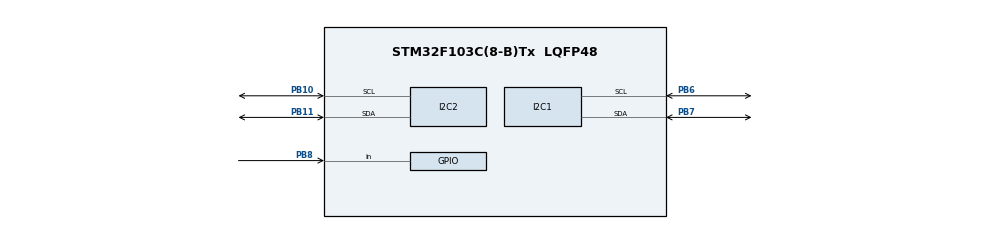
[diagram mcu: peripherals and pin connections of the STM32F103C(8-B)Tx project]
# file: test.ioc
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I2C1.I2C_Mode=I2C_Fast
I2C2.I2C_Mode=I2C_Fast
Mcu.Family=STM32F1
Mcu.Name=STM32F103C(8-B)Tx
Mcu.Package=LQFP48
NVIC.PriorityGroup=NVIC_PRIORITYGROUP_4
PA13.Mode=Serial_Wire
PA13.Signal=SYS_JTMS-SWDIO
PA14.Mode=Serial_Wire
PA14.Signal=SYS_JTCK-SWCLK
PB10.Mode=I2C
PB10.Signal=I2C2_SCL
PB11.Mode=I2C
PB11.Signal=I2C2_SDA
PB6.Mode=I2C
PB6.Signal=I2C1_SCL
PB7.Mode=I2C
PB7.Signal=I2C1_SDA
PB8.Signal=GPIO_Input
ProjectManager.HeapSize=0x200
ProjectManager.StackSize=0x400
ProjectManager.TargetToolchain=STM32CubeIDE
RCC.APB1Freq_Value=8000000
RCC.APB2Freq_Value=8000000
board=custom

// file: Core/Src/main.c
/* USER CODE BEGIN Header */
/**
  ******************************************************************************
  * @file           : main.c
  * @brief          : Main program body
  ******************************************************************************
  * @attention
  *
  * Copyright (c) 2025 STMicroelectronics.
  * All rights reserved.
  *
  * This software is licensed under terms that can be found in the LICENSE file
  * in the root directory of this software component.
  * If no LICENSE file comes with this software, it is provided AS-IS.
  *
  ******************************************************************************
  */
/* USER CODE END Header */
#include "main.h"

/* USER CODE BEGIN Includes */
#include <string.h>
#include "ssd1306.h"
#include "fonts.h"
#include "aht10.h"
/* USER CODE END Includes */

I2C_HandleTypeDef hi2c1;
I2C_HandleTypeDef hi2c2;

void SystemClock_Config(void);
static void MX_GPIO_Init(void);
static void MX_I2C1_Init(void);
static void MX_I2C2_Init(void);

int main(void)
{

  /* MCU Configuration--------------------------------------------------------*/

  /* Reset of all peripherals, Initializes the Flash interface and the Systick. */
  HAL_Init();

  /* Configure the system clock */
  SystemClock_Config();

  /* Initialize all configured peripherals */
  MX_GPIO_Init();
  MX_I2C1_Init();
  MX_I2C2_Init();
  /* USER CODE BEGIN 2 */
  float temp = 0;
  float humid = 0;
  AHT10_Init(&hi2c2);
  AHT10_Measure(&hi2c2, &humid, &temp);

  SSD1306_Init();
  char temp_message[9] = "Temp: ";
  char humid_message[16] = "Humid: ";
  /* USER CODE END 2 */

  /* Infinite loop */
  /* USER CODE BEGIN WHILE */
    while (1)
    {
    	AHT10_Measure(&hi2c2, &humid, &temp);

		SSD1306_GotoXY(0, 0);
		SSD1306_Clear();

		temp_message[6] = (temp / 10.0f) + 48;
		temp_message[7] = ((int)temp % 10) + 48;
		SSD1306_Puts(temp_message, &Font_11x18, 1);

		SSD1306_GotoXY(0, 30);
		humid_message[7] = (humid / 10.0f) + 48;
		humid_message[8] = ((int) humid % 10) + 48;
		SSD1306_Puts(humid_message, &Font_11x18, 1);

		SSD1306_UpdateScreen();
		HAL_Delay(100);
    /* USER CODE END WHILE */

    }
}

void SystemClock_Config(void)
{
  RCC_OscInitTypeDef RCC_OscInitStruct = {0};
  RCC_ClkInitTypeDef RCC_ClkInitStruct = {0};

  /** Initializes the RCC Oscillators according to the specified parameters
  * in the RCC_OscInitTypeDef structure.
  */
  RCC_OscInitStruct.OscillatorType = RCC_OSCILLATORTYPE_HSI;
  RCC_OscInitStruct.HSIState = RCC_HSI_ON;
  RCC_OscInitStruct.HSICalibrationValue = RCC_HSICALIBRATION_DEFAULT;
  RCC_OscInitStruct.PLL.PLLState = RCC_PLL_NONE;
  if (HAL_RCC_OscConfig(&RCC_OscInitStruct) != HAL_OK)
  {
    Error_Handler();
  }

  /** Initializes the CPU, AHB and APB buses clocks
  */
  RCC_ClkInitStruct.ClockType = RCC_CLOCKTYPE_HCLK|RCC_CLOCKTYPE_SYSCLK
                              |RCC_CLOCKTYPE_PCLK1|RCC_CLOCKTYPE_PCLK2;
  RCC_ClkInitStruct.SYSCLKSource = RCC_SYSCLKSOURCE_HSI;
  RCC_ClkInitStruct.AHBCLKDivider = RCC_SYSCLK_DIV1;
  RCC_ClkInitStruct.APB1CLKDivider = RCC_HCLK_DIV1;
  RCC_ClkInitStruct.APB2CLKDivider = RCC_HCLK_DIV1;

  if (HAL_RCC_ClockConfig(&RCC_ClkInitStruct, FLASH_LATENCY_0) != HAL_OK)
  {
    Error_Handler();
  }
}

static void MX_I2C1_Init(void)
{

  hi2c1.Instance = I2C1;
  hi2c1.Init.ClockSpeed = 400000;
  hi2c1.Init.DutyCycle = I2C_DUTYCYCLE_2;
  hi2c1.Init.OwnAddress1 = 0;
  hi2c1.Init.AddressingMode = I2C_ADDRESSINGMODE_7BIT;
  hi2c1.Init.DualAddressMode = I2C_DUALADDRESS_DISABLE;
  hi2c1.Init.OwnAddress2 = 0;
  hi2c1.Init.GeneralCallMode = I2C_GENERALCALL_DISABLE;
  hi2c1.Init.NoStretchMode = I2C_NOSTRETCH_DISABLE;
  if (HAL_I2C_Init(&hi2c1) != HAL_OK)
  {
    Error_Handler();
  }

}

static void MX_I2C2_Init(void)
{

  hi2c2.Instance = I2C2;
  hi2c2.Init.ClockSpeed = 400000;
  hi2c2.Init.DutyCycle = I2C_DUTYCYCLE_2;
  hi2c2.Init.OwnAddress1 = 0;
  hi2c2.Init.AddressingMode = I2C_ADDRESSINGMODE_7BIT;
  hi2c2.Init.DualAddressMode = I2C_DUALADDRESS_DISABLE;
  hi2c2.Init.OwnAddress2 = 0;
  hi2c2.Init.GeneralCallMode = I2C_GENERALCALL_DISABLE;
  hi2c2.Init.NoStretchMode = I2C_NOSTRETCH_DISABLE;
  if (HAL_I2C_Init(&hi2c2) != HAL_OK)
  {
    Error_Handler();
  }

}

static void MX_GPIO_Init(void)
{
  GPIO_InitTypeDef GPIO_InitStruct = {0};

  /* GPIO Ports Clock Enable */
  __HAL_RCC_GPIOB_CLK_ENABLE();
  __HAL_RCC_GPIOA_CLK_ENABLE();

  /*Configure GPIO pin : PB8 */
  GPIO_InitStruct.Pin = GPIO_PIN_8;
  GPIO_InitStruct.Mode = GPIO_MODE_INPUT;
  GPIO_InitStruct.Pull = GPIO_NOPULL;
  HAL_GPIO_Init(GPIOB, &GPIO_InitStruct);

}

void Error_Handler(void)
{
  __disable_irq();
  while (1)
  {
  }
}
